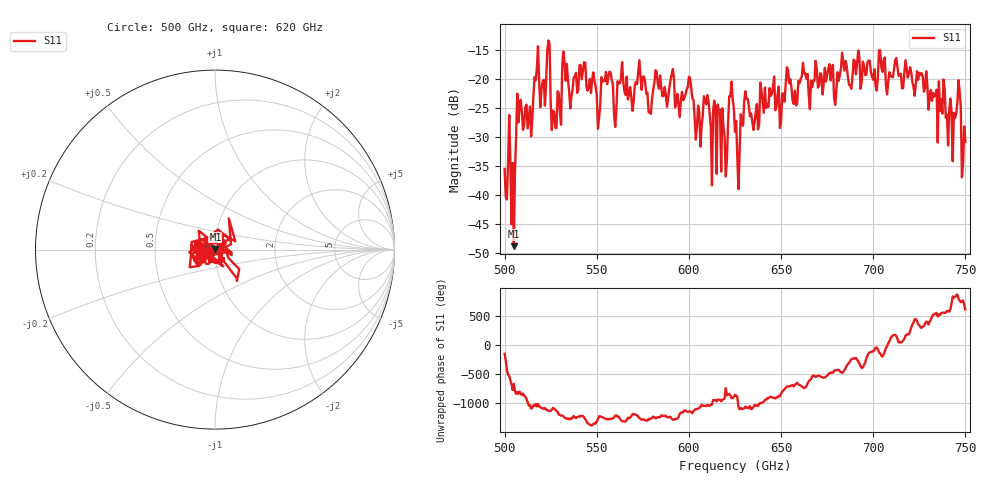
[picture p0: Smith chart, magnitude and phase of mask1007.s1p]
!Created with skrf (http://scikit-rf.org).
# GHz S MA R 50.0
!freq magS11 angS11
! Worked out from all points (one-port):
!   401 points, 500 GHz to 750 GHz, reference 50 ohm
!   lowest |S11| = -48.9 dB at 505 GHz (marker M1), VSWR 1.01, Z = 50.2 + j0.278 ohm
!   |S11| at or under -10 dB: start of sweep to end of sweep
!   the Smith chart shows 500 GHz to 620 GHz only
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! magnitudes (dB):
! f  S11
! 500 GHz  -35.6
! 505 GHz  -48.9
! 508.1 GHz  -24.8
! 513.8 GHz  -24.8
! 516.9 GHz  -20.3
! 520.6 GHz  -20.6
! 523.8 GHz  -13.4
! 526.9 GHz  -25.8
! 531.2 GHz  -17.9
! 542.5 GHz  -18.7
! 550.6 GHz  -28.7
! 562.5 GHz  -20.8
! 590.6 GHz  -19.4
! 593.8 GHz  -22.6
! 600 GHz  -19.7
! 605 GHz  -24.7
! 609.4 GHz  -24.4
! 620 GHz  -36.9
! 623.1 GHz  -20.5
! 625 GHz  -29.2
! 626.2 GHz  -33.5
! 631.2 GHz  -23.5
! 656.2 GHz  -23.8
! 687.5 GHz  -21.2
! 718.8 GHz  -19.8
! 741.9 GHz  -23.4
! 746.2 GHz  -20.3
! 750 GHz  -30.9
